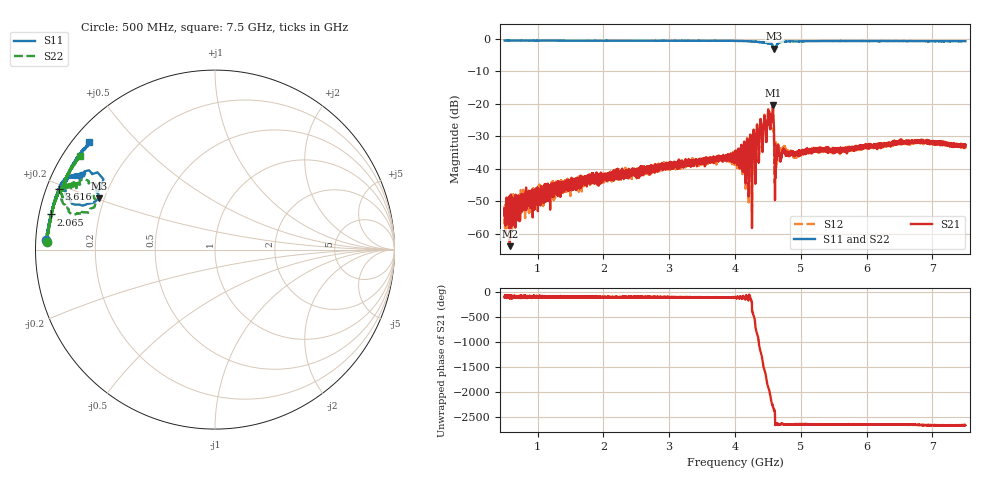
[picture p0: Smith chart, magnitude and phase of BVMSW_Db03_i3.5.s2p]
!Keysight Technologies,M9374A,MY55442783,A.12.55.05
!Date: Friday, May 21, 2021 10:57:46
!Correction: S11(Full 2 Port(1,2))
!S21(Full 2 Port(1,2))
!S12(Full 2 Port(1,2))
!S22(Full 2 Port(1,2))
!S2P File: Measurements: S11, S21, S12, S22:
# Hz S  RI  R 50
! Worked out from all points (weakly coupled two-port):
!   7001 points, 500 MHz to 7.5 GHz, reference 50 ohm
!   highest |S21| = -20.41 dB at 4.575 GHz (marker M1); lowest = -63.8 dB at 579 MHz (marker M2)
!   lowest |S11| = -3.0 dB at 4.6 GHz (marker M3), VSWR 5.81, Z = 8.97 + j10.3 ohm
!   |S11| at or under -10 dB: nowhere
!   |S22| runs from -3.0 to -0.5 dB; largest |S21 - S12| = 0.041
!   S11 on the Smith chart (normalised r, x): 500 MHz: 0.03, +0.03; 2.065 GHz: 0.03, +0.11; 3.616 GHz: 0.04, +0.19; 7.5 GHz: 0.05, +0.37
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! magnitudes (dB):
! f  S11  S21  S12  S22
! 500 MHz  -0.5  -52.8  -51.4  -0.5
! 579 MHz  -0.5  -63.8  -56.4  -0.5
! 1.667 GHz  -0.6  -43.1  -43.4  -0.6
! 2.065 GHz  -0.6  -41.5  -43.9  -0.6
! 2.834 GHz  -0.6  -39.4  -39.9  -0.6
! 3.616 GHz  -0.6  -37.6  -37.3  -0.6
! 4 GHz  -0.6  -36.7  -36.2  -0.7
! 4.165 GHz  -0.7  -41.6  -42.6  -0.7
! 4.185 GHz  -0.7  -31.2  -30.9  -0.8
! 4.212 GHz  -0.8  -44.7  -43.8  -0.8
! 4.234 GHz  -0.8  -29.8  -29.5  -0.9
! 4.257 GHz  -0.8  -55.5  -49.0  -0.8
! 4.284 GHz  -0.9  -28.1  -28.1  -0.9
! 4.307 GHz  -0.8  -42.6  -41.6  -0.9
! 4.335 GHz  -0.9  -26.6  -26.3  -1.0
! 4.532 GHz  -1.3  -27.6  -27.1  -1.4
! 4.575 GHz  -2.6  -20.4  -19.4  -2.6
! 4.6 GHz  -3.0  -35.2  -39.4  -2.9
! 4.637 GHz  -1.8  -36.4  -34.1  -1.8
! 5.167 GHz  -0.7  -34.0  -35.0  -0.7
! 6.334 GHz  -0.7  -32.5  -32.6  -0.7
! 7.5 GHz  -0.7  -32.7  -33.2  -0.8
